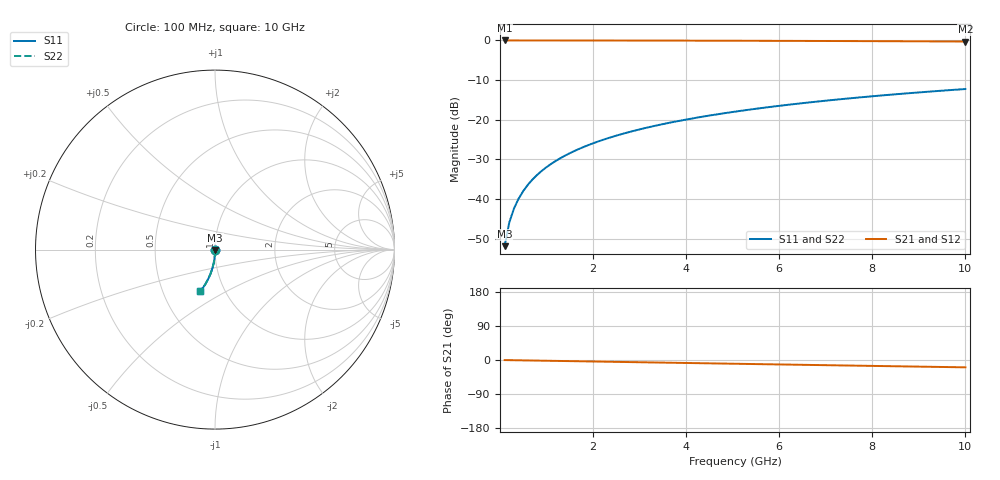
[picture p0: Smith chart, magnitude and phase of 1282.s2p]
# Hz S RI R 50.00
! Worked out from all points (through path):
!   100 points, 100 MHz to 10 GHz, reference 50 ohm
!   highest |S21| = 0.00 dB at 100 MHz (marker M1); lowest = -0.3 dB at 10 GHz (marker M2)
!   group delay of S21, straight-line fit = 5.38 ps
!   lowest |S11| = -51.8 dB at 100 MHz (marker M3), VSWR 1.01, Z = 50 - j0.253 ohm
!   |S11| at or under -10 dB: start of sweep to end of sweep
!   |S22| runs from -51.8 to -12.2 dB; largest |S21 - S12| = 0
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1e8  0.000353 -0.00253  0.9996 -0.00343  0.9996 -0.00343  0.000353 -0.00253
2e8  0.000326 -0.00506  0.9996 -0.00687  0.9996 -0.00687  0.000326 -0.00506
3e8  0.000282 -0.0076  0.9995 -0.0103  0.9995 -0.0103  0.000282 -0.0076
4e8  0.000219 -0.0101  0.9995 -0.0137  0.9995 -0.0137  0.000219 -0.0101
5e8  0.00014 -0.0127  0.9994 -0.0172  0.9994 -0.0172  0.00014 -0.0127
6e8  4.22e-05 -0.0152  0.9993 -0.0206  0.9993 -0.0206  4.22e-05 -0.0152
7e8  -7.26e-05 -0.0177  0.9992 -0.024  0.9992 -0.024  -7.26e-05 -0.0177
8e8  -0.000205 -0.0202  0.999 -0.0275  0.999 -0.0275  -0.000205 -0.0202
9e8  -0.000354 -0.0228  0.9989 -0.0309  0.9989 -0.0309  -0.000354 -0.0228
1.1e9  -0.000706 -0.0278  0.9985 -0.0377  0.9985 -0.0377  -0.000706 -0.0278
1.4e9  -0.00136 -0.0354  0.9978 -0.048  0.9978 -0.048  -0.00136 -0.0354
1.8e9  -0.00248 -0.0454  0.9966 -0.0617  0.9966 -0.0617  -0.00248 -0.0454
2.1e9  -0.0035 -0.053  0.9956 -0.0719  0.9956 -0.0719  -0.0035 -0.053
2.5e9  -0.0051 -0.0629  0.9939 -0.0855  0.9939 -0.0855  -0.0051 -0.0629
2.9e9  -0.00696 -0.0729  0.9919 -0.099  0.9919 -0.099  -0.00696 -0.0729
3.4e9  -0.00968 -0.0852  0.9891 -0.1158  0.9891 -0.1158  -0.00968 -0.0852
4.2e9  -0.0149 -0.1046  0.9836 -0.1425  0.9836 -0.1425  -0.0149 -0.1046
5.1e9  -0.0219 -0.126  0.9762 -0.172  0.9762 -0.172  -0.0219 -0.126
5.9e9  -0.0293 -0.1446  0.9685 -0.1978  0.9685 -0.1978  -0.0293 -0.1446
6.7e9  -0.0376 -0.1626  0.9598 -0.2231  0.9598 -0.2231  -0.0376 -0.1626
8.4e9  -0.0581 -0.199  0.9381 -0.275  0.9381 -0.275  -0.0581 -0.199
1e10  -0.0808 -0.2305  0.9142 -0.3211  0.9142 -0.3211  -0.0808 -0.2305
